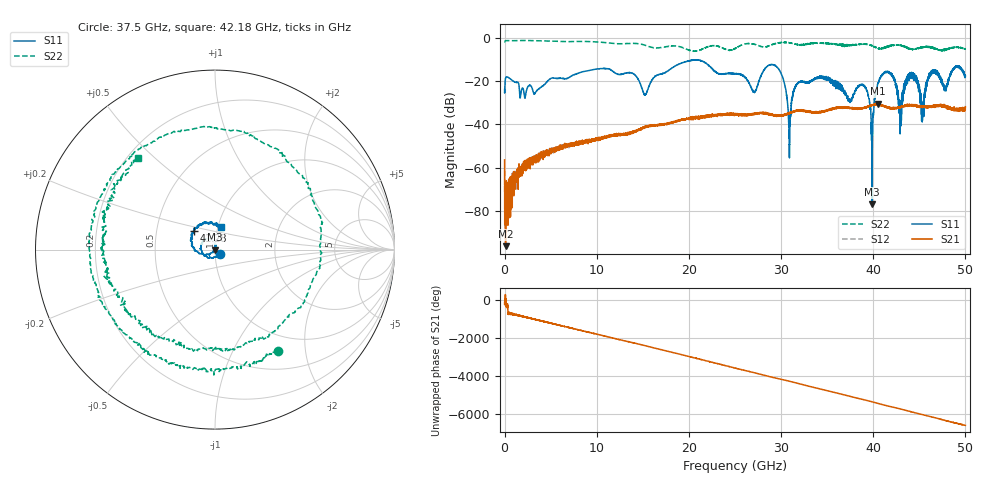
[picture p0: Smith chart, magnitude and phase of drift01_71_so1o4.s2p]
!Created with skrf (http://scikit-rf.org).
# Hz S RI R 50.0
!freq ReS11 ImS11 ReS21 ImS21 ReS12 ImS12 ReS22 ImS22
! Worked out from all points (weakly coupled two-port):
!   10001 points, 300 kHz to 50 GHz, reference 50 ohm
!   highest |S21| = -30.53 dB at 40.52 GHz (marker M1); lowest = -96.1 dB at 105.3 MHz (marker M2)
!   lowest |S11| = -76.8 dB at 39.89 GHz (marker M3), VSWR 1.00, Z = 50 + j0.0136 ohm
!   |S11| at or under -10 dB: start of sweep to end of sweep
!   |S22| runs from -6.4 to -1.3 dB; largest |S21 - S12| = 0.004
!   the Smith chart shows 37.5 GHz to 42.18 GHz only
!   S11 on the Smith chart (normalised r, x): 37.5 GHz: 1.05, -0.05; 41.28 GHz: 0.78, +0.16; 42.18 GHz: 1.04, +0.27
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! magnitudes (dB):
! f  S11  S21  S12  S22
! 300 kHz  -23.9  -56.4  -61.2  -2.1
! 105.3 MHz  -18.7  -96.1  -90.1  -1.5
! 8.335 GHz  -15.9  -47.9  -48.6  -1.8
! 16.67 GHz  -17.1  -40.4  -40.4  -4.8
! 25 GHz  -16.5  -35.6  -35.3  -5.0
! 27.1 GHz  -25.2  -35.0  -35.1  -3.1
! 29.44 GHz  -13.2  -36.0  -36.0  -2.7
! 30.92 GHz  -49.2  -34.9  -34.8  -2.5
! 31.69 GHz  -21.6  -33.7  -33.8  -3.2
! 33.34 GHz  -19.8  -34.2  -34.3  -2.7
! 37.5 GHz  -29.1  -32.3  -32.4  -3.5
! 38.99 GHz  -22.2  -32.6  -32.3  -3.1
! 39.89 GHz  -76.8  -31.1  -31.0  -3.7
! 40.52 GHz  -21.0  -30.5  -30.8  -4.9
! 41.28 GHz  -16.2  -32.1  -31.8  -4.5
! 41.67 GHz  -15.8  -32.1  -32.3  -4.1
! 42.18 GHz  -17.7  -32.5  -32.5  -3.6
! 42.97 GHz  -33.9  -32.3  -32.1  -3.5
! 43.96 GHz  -17.6  -31.2  -31.1  -5.2
! 45.32 GHz  -34.6  -31.5  -31.7  -4.5
! 46.38 GHz  -15.3  -31.7  -31.8  -4.9
! 50 GHz  -17.7  -31.9  -32.8  -5.2
